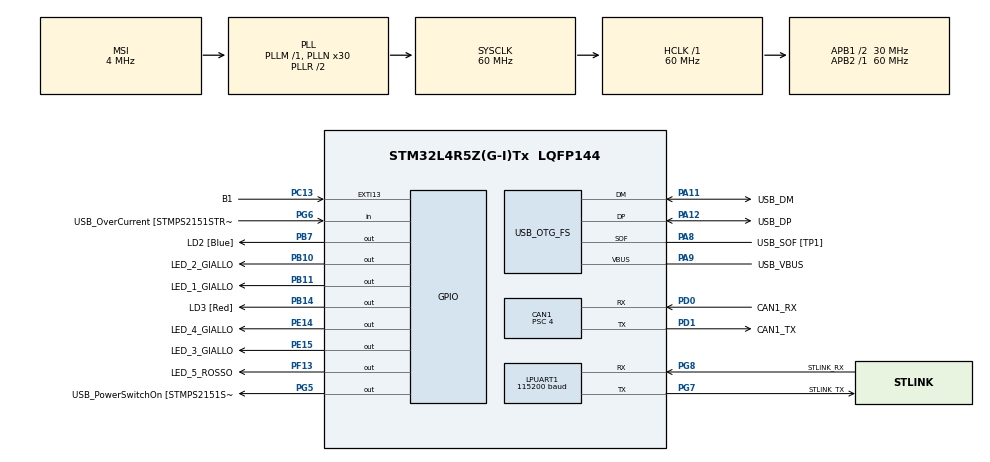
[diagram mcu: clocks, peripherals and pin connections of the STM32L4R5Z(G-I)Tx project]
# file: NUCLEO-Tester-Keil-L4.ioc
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CAN1.BS1=CAN_BS1_12TQ
CAN1.BS2=CAN_BS2_2TQ
CAN1.CalculateTimeQuantum=133.33333333333334
CAN1.Prescaler=4
LPUART1.BaudRate=115200
LPUART1.WordLength=UART_WORDLENGTH_8B
Mcu.Family=STM32L4
Mcu.Name=STM32L4R5Z(G-I)Tx
Mcu.Package=LQFP144
NVIC.CAN1_RX0_IRQn=true\:0\:0\:false\:false\:true\:true\:true
NVIC.CAN1_RX1_IRQn=true\:0\:0\:false\:false\:true\:true\:true
NVIC.CAN1_TX_IRQn=true\:0\:0\:false\:false\:true\:true\:true
NVIC.LPUART1_IRQn=true\:0\:0\:false\:false\:true\:true\:true
NVIC.PriorityGroup=NVIC_PRIORITYGROUP_4
NVIC.TIM2_IRQn=true\:0\:0\:false\:false\:true\:true\:true
NVIC.TIM3_IRQn=true\:0\:0\:false\:false\:true\:true\:true
PA10.GPIO_Label=USB_ID
PA10.Signal=USB_OTG_FS_ID
PA11.GPIO_Label=USB_DM
PA11.Mode=Device_Only
PA11.Signal=USB_OTG_FS_DM
PA12.GPIO_Label=USB_DP
PA12.Mode=Device_Only
PA12.Signal=USB_OTG_FS_DP
PA13\ (JTMS/SWDIO).GPIO_Label=TMS
PA13\ (JTMS/SWDIO).Mode=Trace_Asynchronous_SW
PA13\ (JTMS/SWDIO).Signal=SYS_JTMS-SWDIO
PA14\ (JTCK/SWCLK).GPIO_Label=TCK
PA14\ (JTCK/SWCLK).Mode=Trace_Asynchronous_SW
PA14\ (JTCK/SWCLK).Signal=SYS_JTCK-SWCLK
PA8.GPIO_Label=USB_SOF [TP1]
PA8.Mode=Activate_SOF_FS
PA8.Signal=USB_OTG_FS_SOF
PA9.GPIO_Label=USB_VBUS
PA9.Mode=Activate_VBUS
PA9.Signal=USB_OTG_FS_VBUS
PB10.GPIO_Label=LED_2_GIALLO
PB10.Signal=GPIO_Output
PB11.GPIO_Label=LED_1_GIALLO
PB11.Signal=GPIO_Output
PB14.GPIO_Label=LD3 [Red]
PB14.Signal=GPIO_Output
PB3\ (JTDO/TRACESWO).GPIO_Label=SWO
PB3\ (JTDO/TRACESWO).Mode=Trace_Asynchronous_SW
PB3\ (JTDO/TRACESWO).Signal=SYS_JTDO-SWO
PB7.GPIO_Label=LD2 [Blue]
PB7.Signal=GPIO_Output
PC13.GPIO_Label=B1
PC13.Signal=GPXTI13
PC14-OSC32_IN\ (PC14).Mode=LSE-External-Oscillator
PC14-OSC32_IN\ (PC14).Signal=RCC_OSC32_IN
PC15-OSC32_OUT\ (PC15).Mode=LSE-External-Oscillator
PC15-OSC32_OUT\ (PC15).Signal=RCC_OSC32_OUT
PD0.GPIO_Label=CAN1_RX
PD0.Mode=Master
PD0.Signal=CAN1_RX
PD1.GPIO_Label=CAN1_TX
PD1.Mode=Master
PD1.Signal=CAN1_TX
PE14.GPIO_Label=LED_4_GIALLO
PE14.Signal=GPIO_Output
PE15.GPIO_Label=LED_3_GIALLO
PE15.Signal=GPIO_Output
PF13.GPIO_Label=LED_5_ROSSO
PF13.Signal=GPIO_Output
PG5.GPIO_Label=USB_PowerSwitchOn [STMPS2151STR_EN]
PG5.Signal=GPIO_Output
PG6.GPIO_Label=USB_OverCurrent [STMPS2151STR_FAULT]
PG6.Signal=GPIO_Input
PG7.GPIO_Label=STLINK_TX
PG7.Mode=Asynchronous
PG7.Signal=LPUART1_TX
PG8.GPIO_Label=STLINK_RX
PG8.Mode=Asynchronous
PG8.Signal=LPUART1_RX
PH0-OSC_IN\ (PH0).Mode=HSE-External-Clock-Source
PH0-OSC_IN\ (PH0).Signal=RCC_OSC_IN
PH1-OSC_OUT\ (PH1).Signal=RCC_OSC_OUT
ProjectManager.HeapSize=0x200
ProjectManager.StackSize=0x400
ProjectManager.TargetToolchain=MDK-ARM V5
RCC.48MHZClocksFreq_Value=24000000
RCC.ADCFreq_Value=48000000
RCC.AHBFreq_Value=60000000
RCC.APB1CLKDivider=RCC_HCLK_DIV2
RCC.APB1Freq_Value=30000000
RCC.APB1TimFreq_Value=60000000
RCC.APB2Freq_Value=60000000
RCC.APB2TimFreq_Value=60000000
RCC.CortexFreq_Value=60000000
RCC.HCLKFreq_Value=60000000
RCC.HSE_VALUE=8000000
RCC.HSI48_VALUE=48000000
RCC.HSI_VALUE=16000000
RCC.MSI_VALUE=4000000
RCC.PLLMUL=RCC_PLL_MUL9
RCC.PLLN=30
RCC.PLLSAI1N=24
RCC.PRESCALERUSB=RCC_USBCLKSOURCE_PLL_DIV1_5
RCC.SYSCLKFreq_VALUE=60000000
RCC.SYSCLKSource=RCC_SYSCLKSOURCE_PLLCLK
RCC.SYSCLKSourceVirtual=RCC_SYSCLKSOURCE_PLLCLK
RCC.USBFreq_Value=48000000
RCC.VCOOutputFreq_Value=120000000
TIM2.Period=5
TIM2.Prescaler=9999
TIM3.Period=6
TIM3.Prescaler=9999
USB_OTG_FS.VirtualMode=Device_Only
VP_TIM2_VS_ClockSourceINT.Mode=Internal
VP_TIM3_VS_ClockSourceINT.Mode=Internal
board=NUCLEO-L4R5ZI

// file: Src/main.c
/* USER CODE BEGIN Header */
/**
  ******************************************************************************
  * @file           : main.c
  * @brief          : Main program body
  ******************************************************************************
  * @attention
  *
  * <h2><center>&copy; Copyright (c) 2019 STMicroelectronics.
  * All rights reserved.</center></h2>
  *
  * This software component is licensed by ST under BSD 3-Clause license,
  * the "License"; You may not use this file except in compliance with the
  * License. You may obtain a copy of the License at:
  *                        opensource.org/licenses/BSD-3-Clause
  *
  ******************************************************************************
  */
/* USER CODE END Header */

#include "main.h"
#include "can.h"
#include "usart.h"
#include "tim.h"
#include "usb_otg.h"
#include "gpio.h"

void SystemClock_Config(void);

/* USER CODE BEGIN 0 */
uint16_t timer2_counter1 = 0;
uint16_t timer3_counter1 = 0;
uint16_t timer3_counter2 = 0;
char receivedOk = 0;
uint32_t emptyMailboxes = 2;
extern uint8_t rxData[];
uint8_t syncMsg = 1;
/* USER CODE END 0 */

int main(void)
{

  /* MCU Configuration--------------------------------------------------------*/

  /* Reset of all peripherals, Initializes the Flash interface and the Systick. */
  HAL_Init();

  /* Configure the system clock */
  SystemClock_Config();

  /* Initialize all configured peripherals */
  MX_GPIO_Init();
  MX_CAN1_Init();
  MX_USB_OTG_FS_PCD_Init();
  MX_TIM2_Init();
  MX_TIM3_Init();
  MX_LPUART1_UART_Init();
  /* USER CODE BEGIN 2 */
	HAL_TIM_Base_Start_IT(&htim2);
	HAL_TIM_Base_Start_IT(&htim3);
	CAN1_Start();
	HAL_GPIO_WritePin(GPIOB, GPIO_PIN_11, GPIO_PIN_SET);
	HAL_GPIO_WritePin(GPIOB, GPIO_PIN_10, GPIO_PIN_RESET);

	HAL_GPIO_WritePin(GPIOB, GPIO_PIN_14, GPIO_PIN_RESET);
	HAL_GPIO_WritePin(GPIOB, GPIO_PIN_7, GPIO_PIN_RESET);

	//CAN1_Send_Nucleo_L4_Packet();
	HAL_Delay(250);
	//CAN1_Send_Nucleo_L4_Packet();
	HAL_UART_Receive_IT(&hlpuart1, rxData, 1);
  /* USER CODE END 2 */

  /* Infinite loop */
	while (1)
  {

  }
}

void SystemClock_Config(void)
{
  RCC_OscInitTypeDef RCC_OscInitStruct = {0};
  RCC_ClkInitTypeDef RCC_ClkInitStruct = {0};
  RCC_PeriphCLKInitTypeDef PeriphClkInit = {0};

  /** Configure the main internal regulator output voltage
  */
  if (HAL_PWREx_ControlVoltageScaling(PWR_REGULATOR_VOLTAGE_SCALE1) != HAL_OK)
  {
    Error_Handler();
  }
  /** Configure LSE Drive Capability
  */
  HAL_PWR_EnableBkUpAccess();
  __HAL_RCC_LSEDRIVE_CONFIG(RCC_LSEDRIVE_LOW);
  /** Initializes the CPU, AHB and APB busses clocks
  */
  RCC_OscInitStruct.OscillatorType = RCC_OSCILLATORTYPE_LSE|RCC_OSCILLATORTYPE_MSI;
  RCC_OscInitStruct.LSEState = RCC_LSE_ON;
  RCC_OscInitStruct.MSIState = RCC_MSI_ON;
  RCC_OscInitStruct.MSICalibrationValue = 0;
  RCC_OscInitStruct.MSIClockRange = RCC_MSIRANGE_6;
  RCC_OscInitStruct.PLL.PLLState = RCC_PLL_ON;
  RCC_OscInitStruct.PLL.PLLSource = RCC_PLLSOURCE_MSI;
  RCC_OscInitStruct.PLL.PLLM = 1;
  RCC_OscInitStruct.PLL.PLLN = 30;
  RCC_OscInitStruct.PLL.PLLP = RCC_PLLP_DIV2;
  RCC_OscInitStruct.PLL.PLLQ = RCC_PLLQ_DIV2;
  RCC_OscInitStruct.PLL.PLLR = RCC_PLLR_DIV2;
  if (HAL_RCC_OscConfig(&RCC_OscInitStruct) != HAL_OK)
  {
    Error_Handler();
  }
  /** Initializes the CPU, AHB and APB busses clocks
  */
  RCC_ClkInitStruct.ClockType = RCC_CLOCKTYPE_HCLK|RCC_CLOCKTYPE_SYSCLK
                              |RCC_CLOCKTYPE_PCLK1|RCC_CLOCKTYPE_PCLK2;
  RCC_ClkInitStruct.SYSCLKSource = RCC_SYSCLKSOURCE_PLLCLK;
  RCC_ClkInitStruct.AHBCLKDivider = RCC_SYSCLK_DIV1;
  RCC_ClkInitStruct.APB1CLKDivider = RCC_HCLK_DIV2;
  RCC_ClkInitStruct.APB2CLKDivider = RCC_HCLK_DIV1;

  if (HAL_RCC_ClockConfig(&RCC_ClkInitStruct, FLASH_LATENCY_2) != HAL_OK)
  {
    Error_Handler();
  }
  PeriphClkInit.PeriphClockSelection = RCC_PERIPHCLK_LPUART1|RCC_PERIPHCLK_USB;
  PeriphClkInit.Lpuart1ClockSelection = RCC_LPUART1CLKSOURCE_PCLK1;
  PeriphClkInit.UsbClockSelection = RCC_USBCLKSOURCE_PLLSAI1;
  PeriphClkInit.PLLSAI1.PLLSAI1Source = RCC_PLLSOURCE_MSI;
  PeriphClkInit.PLLSAI1.PLLSAI1M = 1;
  PeriphClkInit.PLLSAI1.PLLSAI1N = 24;
  PeriphClkInit.PLLSAI1.PLLSAI1P = RCC_PLLP_DIV2;
  PeriphClkInit.PLLSAI1.PLLSAI1Q = RCC_PLLQ_DIV2;
  PeriphClkInit.PLLSAI1.PLLSAI1R = RCC_PLLR_DIV2;
  PeriphClkInit.PLLSAI1.PLLSAI1ClockOut = RCC_PLLSAI1_48M2CLK;
  if (HAL_RCCEx_PeriphCLKConfig(&PeriphClkInit) != HAL_OK)
  {
    Error_Handler();
  }
  /** Enable MSI Auto calibration
  */
  HAL_RCCEx_EnableMSIPLLMode();
}

/* USER CODE BEGIN 4 */
void HAL_TIM_PeriodElapsedCallback(TIM_HandleTypeDef *htim)
{
		//__disable_irq(); //disabilito tutti gli interrupt
    if (htim->Instance == htim2.Instance)
    {
			timer2_counter1++;
			//uint32_t emptyMailboxes = HAL_CAN_GetTxMailboxesFreeLevel(&hcan1);

			if(timer2_counter1 >= 500)
			{
				//CAN1_Send_Nucleo_L4_Packet();
				HAL_GPIO_TogglePin(GPIOB, GPIO_PIN_14);
				receivedOk = 1;
				timer2_counter1 = 0;
			}
    }
		else if(htim->Instance == htim3.Instance)
		{
			timer3_counter1++;
			timer3_counter2++;
			if(timer3_counter1 >= 25)
			{
				syncMsg++;
				HAL_UART_Transmit_IT(&hlpuart1, &syncMsg, 1);
				timer3_counter1 = 0;
			}
			if(timer3_counter2 >= 10)
			{
				//HAL_GPIO_TogglePin(GPIOB, GPIO_PIN_14);
				timer3_counter2 = 0;
			}

		}
		//__enable_irq(); //riabilito tutti gli interrupt
}
/* USER CODE END 4 */

void Error_Handler(void)
{
}

/************************ (C) COPYRIGHT STMicroelectronics *****END OF FILE****/
